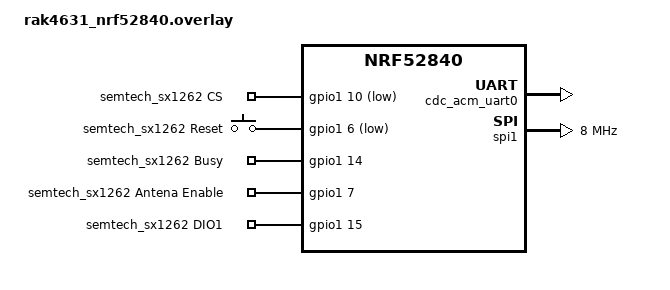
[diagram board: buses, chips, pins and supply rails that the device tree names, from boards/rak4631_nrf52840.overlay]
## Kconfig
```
#
# Copyright (c) 2023 Nordic Semiconductor ASA
#
# SPDX-License-Identifier: LicenseRef-Nordic-5-Clause
#

config SIDEWALK_DUT_CLI
	bool "Enable sidewalk CLI"
  	default y
	imply SHELL

config SIDEWALK_GPIO
	default y

config SIDEWALK_SPI_BUS
	default y

config SIDEWALK_TEMPERATURE
	default y

choice SIDEWALK_LINK_MASK
	default SIDEWALK_LINK_MASK_LORA
endchoice

config SHELL_CMD_BUFF_SIZE
	default 1024

config SHELL_BACKEND_SERIAL_TX_RING_BUFFER_SIZE
	default 128

config SHELL_BACKEND_SERIAL_RX_RING_BUFFER_SIZE
	default 1024

rsource "../../../sidewalk/samples/common/Kconfig.defconfig"

source "Kconfig.zephyr"
```

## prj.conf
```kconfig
#
# Copyright (c) 2023 Nordic Semiconductor ASA
#
# SPDX-License-Identifier: LicenseRef-Nordic-5-Clause
#

# Sidewalk
CONFIG_SIDEWALK=y


# This sample do not require DFU, disable it
CONFIG_SIDEWALK_DFU=n

# Logs
CONFIG_SIDEWALK_LOG_LEVEL_OFF=y
CONFIG_SIDEWALK_BLE_ADAPTER_LOG_LEVEL_DBG=y

CONFIG_NVS_LOG_LEVEL_WRN=y
CONFIG_LOG_PRINTK=y

# Bluetooth
CONFIG_BT_DEVICE_NAME="Sid dut"

# Debug
CONFIG_RESET_ON_FATAL_ERROR=n
CONFIG_THREAD_NAME=y
CONFIG_THREAD_MONITOR=y
CONFIG_THREAD_STACK_INFO=y

# Use HW crypto
CONFIG_HW_CC3XX=y
CONFIG_PSA_CRYPTO_DRIVER_CC3XX=y
CONFIG_MBEDTLS_HEAP_SIZE=1024

CONFIG_NVS_LOOKUP_CACHE=y
CONFIG_NVS_LOOKUP_CACHE_SIZE=1024

CONFIG_SPIN_VALIDATE=n

# Disable additional data buffering in SPI driver.
CONFIG_SPI_NRFX_RAM_BUFFER_SIZE=0

# Shell and USB CDC console
CONFIG_USB_DEVICE_STACK=y
CONFIG_USB_DEVICE_VID=0x2FE9
CONFIG_USB_DEVICE_PRODUCT="RAK_SID-DUT"
CONFIG_USB_DEVICE_MANUFACTURER="RAKWireless"
CONFIG_USB_CDC_ACM_LOG_LEVEL_OFF=y
CONFIG_UART_LINE_CTRL=y
CONFIG_USB_CDC_ACM_RINGBUF_SIZE=512
CONFIG_SHELL_BACKEND_SERIAL_CHECK_DTR=y
CONFIG_REBOOT=y
CONFIG_SHELL=y
CONFIG_SHELL_LOG_BACKEND=y
CONFIG_SHELL_BACKEND_SERIAL_CHECK_DTR=y
CONFIG_USB_CDC_ACM_LOG_LEVEL_OFF=y
CONFIG_SIDEWALK_CLI=y
```

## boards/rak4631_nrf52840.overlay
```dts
/*
 * SPDX-License-Identifier: Apache-2.0
 */

/ {
	chosen {
		zephyr,console = &cdc_acm_uart0;
		zephyr,shell-uart = &cdc_acm_uart0;
	};
};

&zephyr_udc0 {
	cdc_acm_uart0: cdc_acm_uart0 {
		compatible = "zephyr,cdc-acm-uart";
	};
};

sid_semtech: &spi1 {
	compatible = "nordic,nrf-spim";
	clock-frequency = <DT_FREQ_M(8)>;
	/delete-property/ cs-gpios;

	lora: lora@0 {
	    status = "disabled";
	};
};

/{
 	semtech_sx1262_gpios{
 		compatible = "gpio-keys";
		semtech_sx1262_cs: cs {
			gpios = <&gpio1 10 GPIO_ACTIVE_LOW>;
			label = "semtech_sx1262 CS";
		};
 		semtech_sx1262_reset_gpios: reset {
			gpios = <&gpio1 6 GPIO_ACTIVE_LOW>;
			label = "semtech_sx1262 Reset";
		};
		semtech_sx1262_busy_gpios: busy {
			gpios = <&gpio1 14 GPIO_ACTIVE_HIGH>;
			label = "semtech_sx1262 Busy";
		};
		semtech_sx1262_antenna_enable_gpios: antena_enable {
			gpios = <&gpio1 7 GPIO_ACTIVE_HIGH>;
			label = "semtech_sx1262 Antena Enable";
		};
		semtech_sx1262_dio1_gpios: dio1 {
			gpios = <&gpio1 15 GPIO_ACTIVE_HIGH>;
			label = "semtech_sx1262 DIO1";
		};
 	};
};
```

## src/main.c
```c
/*
 * Copyright (c) 2023 Nordic Semiconductor ASA
 *
 * SPDX-License-Identifier: LicenseRef-Nordic-5-Clause
 */

#include <zephyr/logging/log.h>
#include <zephyr/usb/usb_device.h>

#include <sidewalk_version.h>

#include <sid_error.h>
#include <sid_dut_shell.h>
#include <sid_thread.h>

LOG_MODULE_REGISTER(sid_main, LOG_LEVEL_INF);

int main(void)
{
	int rc;
	if (IS_ENABLED(CONFIG_USB_DEVICE_STACK)) {
		rc = usb_enable(NULL);
		if (rc) {
			LOG_ERR("Failed to enable USB");
		}
	}

	PRINT_SIDEWALK_VERSION();

	initialize_sidewalk_shell(sid_thread_get_config(), sid_thread_get_app_context());

	sid_error_t e = sid_thread_init();

	if (e != SID_ERROR_NONE) {
		LOG_ERR("sidwalk failed to initialize with error (sid_error_t) %d", e);
	}

	return 0;
}
```
